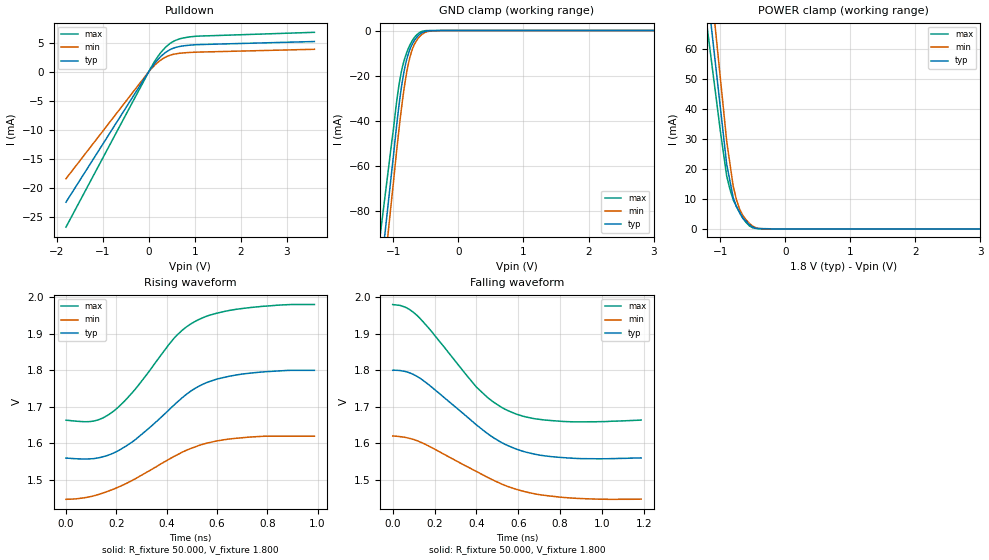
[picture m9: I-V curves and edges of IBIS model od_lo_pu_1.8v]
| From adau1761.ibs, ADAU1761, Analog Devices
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[Model]   od_lo_pu_1.8v
Model_type I/O_open_drain
Vinl=5.400E-01
Vinh=1.260E+00
Vref=1.800E+00
Rref=2.000E+03
Cref=0.000E+00
Vmeas=9.000E-01
C_comp   5.9300E-13   5.6335E-13   6.2265E-13
[Voltage Range]   1.800E+00   1.620E+00   1.980E+00
[POWER Clamp Reference]   1.800E+00   1.620E+00   1.980E+00
[GND Clamp Reference]   0.000E+00   0.000E+00   0.000E+00
[Pullup Reference]   1.800E+00   1.620E+00   1.980E+00
[Pulldown Reference]   0.000E+00   0.000E+00   0.000E+00
[Temperature Range]   25   85   -40
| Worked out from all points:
|   slope of the pulldown table from 0 to 0.27 V, typ, clamps not added: 101 ohm
|   GND clamp passes 1 mA (typ) near -0.56 V on its own axis
|   POWER clamp passes 1 mA (typ) near -0.53 V on its own axis
|   rising waveform, R_fixture 50.000, V_fixture 1.800: 20-80 % time 245ps typ, 281ps min, 227ps max; typ from 1.56 V to 1.8 V
|   falling waveform, R_fixture 50.000, V_fixture 1.800: 20-80 % time 313ps typ, 355ps min, 280ps max; typ from 1.8 V to 1.56 V
[GND Clamp]
-1.8V     -268.6mA   -290.1mA   -230.3mA
-1.02V    -61.15mA   -73.22mA   -48.42mA
-940mV    -39.73mA   -50.88mA   -29.56mA
-900mV    -30.16mA   -40.48mA   -21.87mA
-840mV    -18.83mA   -26.81mA   -13.83mA
-800mV    -13.43mA   -19.4mA    -10.19mA
-760mV    -9.503mA   -13.59mA   -7.341mA
-700mV    -5.509mA   -7.683mA   -4.062mA
-580mV    -1.339mA   -2.195mA   -633.1uA
-460mV    -150.5uA   -377.7uA   -23.99uA
-260mV    0A         0A         0A
3.6V      0A         0A         0A
[POWER Clamp]
-1.8V     196.9mA    223.6mA    170.1mA
-1.1V     60.55mA    72.54mA    50.27mA
-1V       41.08mA    50.96mA    33.15mA
-900mV    21.6mA     29.38mA    17.68mA
-850mV    16.04mA    21.83mA    13.25mA
-800mV    10.47mA    14.29mA    9.713mA
-750mV    7.401mA    9.775mA    7.514mA
-700mV    5.518mA    6.539mA    5.316mA
-600mV    2.484mA    2.996mA    2.11mA
-500mV    602.2uA    925.3uA    373.2uA
-300mV    19.22uA    10.48uA    67.74uA
3.6V      -14.4uA    -24uA      -9uA
[Pulldown]
-1.8V     -22.47mA   -18.43mA   -26.77mA
40mV      472uA      373.3uA    582.4uA
140mV     1.559mA    1.217mA    1.943mA
260mV     2.605mA    2.001mA    3.279mA
380mV     3.408mA    2.573mA    4.334mA
460mV     3.791mA    2.83mA     4.854mA
680mV     4.363mA    3.188mA    5.677mA
1.02V     4.649mA    3.365mA    6.103mA
3.6V      5.199mA    3.864mA    6.784mA
[Rising Waveform]
R_fixture = 50.000
V_fixture = 1.800
V_fixture_min = 1.620
V_fixture_max = 1.980
|  time   V(typ)   V(min)   V(max)
0s        1.56V      1.447V     1.664V
110ps     1.559V     1.457V     1.661V
187.5ps   1.573V     1.475V     1.687V
280ps     1.613V     1.505V     1.752V
437.5ps   1.71V      1.567V     1.894V
482.5ps   1.736V     1.583V     1.921V
532.5ps   1.758V     1.595V     1.94V
597.5ps   1.776V     1.607V     1.956V
700ps     1.79V      1.616V     1.969V
987.5ps   1.8V       1.62V      1.98V
[Falling Waveform]
R_fixture = 50.000
V_fixture = 1.800
V_fixture_min = 1.620
V_fixture_max = 1.980
|  time   V(typ)   V(min)   V(max)
0s        1.8V       1.62V      1.98V
60ps      1.797V     1.616V     1.972V
115ps     1.784V     1.607V     1.951V
400ps     1.65V      1.523V     1.754V
472.5ps   1.619V     1.501V     1.717V
545ps     1.595V     1.483V     1.691V
637.5ps   1.576V     1.467V     1.672V
755ps     1.564V     1.456V     1.662V
905ps     1.558V     1.449V     1.659V
1.188ns   1.56V      1.447V     1.664V
[Ramp]
dV/dt_r   1.4396E-01/2.4550E-10   1.0365E-01/2.8090E-10   1.8980E-01/2.2720E-10
dV/dt_f   1.4396E-01/3.1172E-10   1.0365E-01/3.5437E-10   1.8980E-01/2.8023E-10
R_load = 50
